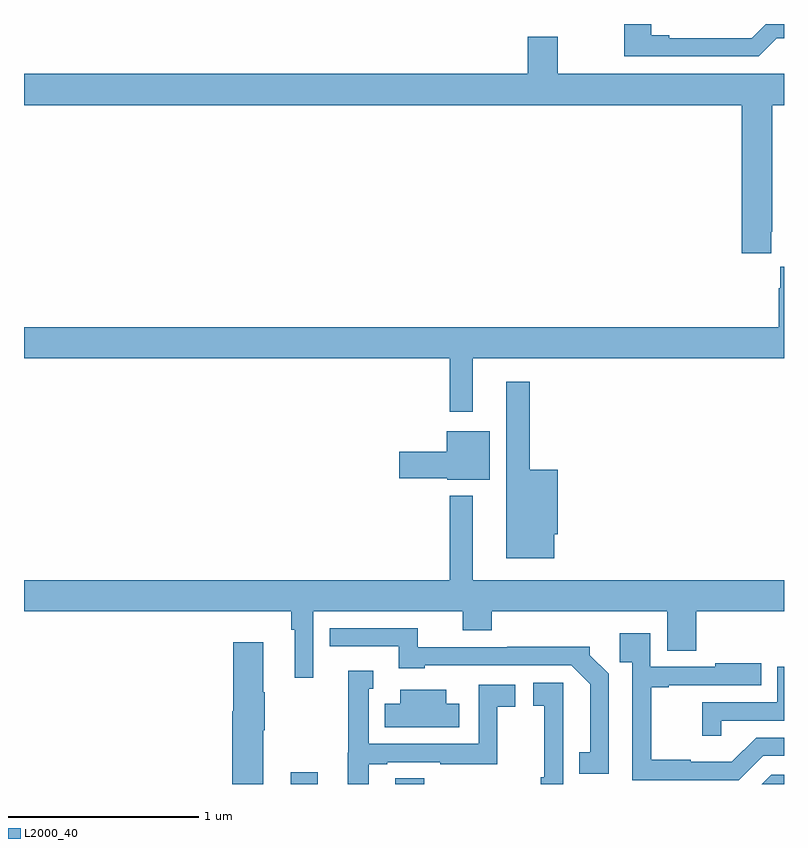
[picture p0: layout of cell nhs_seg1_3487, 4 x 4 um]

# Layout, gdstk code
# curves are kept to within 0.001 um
import gdstk
lib = gdstk.Library(unit=1e-6, precision=1e-09)
def R(c, l, rs):  # rectangles x0, y0, x1, y1
    for r in rs: c.add(gdstk.rectangle(r[:2], r[2:], *l))
def P(c, l, *ps):  # polygons
    for p in ps: c.add(gdstk.Polygon(p, *l))
L2000_40 = (2000, 40)

nhs_seg1_3487 = lib.new_cell('nhs_seg1_3487')
R(nhs_seg1_3487, L2000_40, [(302.405,508.199,302.545,508.261), (302.954,508.199,303.107,508.229)])
P(nhs_seg1_3487, L2000_40, [(304.962,512.124),(305,512.124),(305,512.199),(304.905,512.199),(304.831,512.125),(304.727,512.124),(304.396,512.124),(304.396,512.139),(304.3,512.139),(304.3,512.199),(304.16,512.199),(304.16,512.028),(304.866,512.028)],
  [(304.933,511.105),(304.938,511.105),(304.938,511.772),(305,511.772),(305,511.936),(303.81,511.936),(303.81,512.132),(303.65,512.132),(303.65,511.936),(301,511.936),(301,511.772),(304.778,511.772),(304.778,510.993),(304.933,510.993)],
  [(303.361,510.44),(305,510.44),(305,510.922),(304.979,510.922),(304.979,510.809),(304.973,510.809),(304.973,510.604),(301,510.604),(301,510.44),(303.24,510.44),(303.24,510.159),(303.361,510.159)],
  [(303.79,509.514),(303.808,509.514),(303.808,509.854),(303.661,509.854),(303.661,510.316),(303.539,510.316),(303.539,509.387),(303.79,509.387)],
  [(303.451,510.055),(303.224,510.055),(303.224,509.949),(302.976,509.949),(302.976,509.807),(303.228,509.807),(303.228,509.801),(303.451,509.801)],
  [(303.361,509.716),(303.24,509.716),(303.24,509.272),(301,509.272),(301,509.108),(302.407,509.108),(302.407,509.012),(302.426,509.012),(302.426,508.758),(302.523,508.758),(302.523,509.108),(303.308,509.108),(303.308,509.009),(303.461,509.009),(303.461,509.108),(304.385,509.108),(304.385,508.9),(304.538,508.9),(304.538,509.108),(305,509.108),(305,509.272),(303.361,509.272)],
  [(304.077,508.778),(303.978,508.877),(303.978,508.922),(303.544,508.922),(303.544,508.92),(303.072,508.92),(303.072,509.019),(302.608,509.019),(302.608,508.923),(302.972,508.923),(302.972,508.808),(303.108,508.808),(303.108,508.824),(303.879,508.824),(303.98,508.723),(303.98,508.367),(303.922,508.367),(303.922,508.254),(304.077,508.254)],
  [(304.89,508.347),(305,508.347),(305,508.443),(304.854,508.443),(304.726,508.315),(304.508,508.315),(304.508,508.327),(304.301,508.327),(304.301,508.707),(304.393,508.707),(304.393,508.719),(304.88,508.719),(304.88,508.834),(304.637,508.834),(304.637,508.815),(304.296,508.815),(304.296,508.993),(304.135,508.993),(304.135,508.841),(304.2,508.841),(304.2,508.218),(304.761,508.218)],
  [(302.26,508.481),(302.268,508.481),(302.268,508.681),(302.26,508.681),(302.26,508.945),(302.102,508.945),(302.102,508.581),(302.096,508.581),(302.096,508.199),(302.26,508.199)],
  [(304.671,508.533),(305,508.533),(305,508.815),(304.965,508.815),(304.965,508.629),(304.57,508.629),(304.57,508.452),(304.671,508.452)],
  [(302.815,508.302),(302.911,508.302),(302.911,508.314),(303.19,508.314),(303.19,508.302),(303.492,508.302),(303.492,508.606),(303.586,508.606),(303.586,508.722),(303.393,508.722),(303.393,508.41),(302.814,508.41),(302.814,508.701),(302.839,508.701),(302.839,508.795),(302.706,508.795),(302.706,508.363),(302.705,508.363),(302.705,508.199),(302.815,508.199)],
  [(303.837,508.456),(303.838,508.456),(303.838,508.732),(303.681,508.732),(303.681,508.611),(303.739,508.611),(303.739,508.235),(303.721,508.235),(303.721,508.199),(303.837,508.199)],
  [(303.292,508.621),(303.223,508.621),(303.223,508.696),(302.981,508.696),(302.981,508.621),(302.899,508.621),(302.899,508.499),(303.292,508.499)],
  [(305,508.248),(304.932,508.248),(304.883,508.199),(305,508.199)])

lib.write_gds('nhs_seg1_3487.gds')
